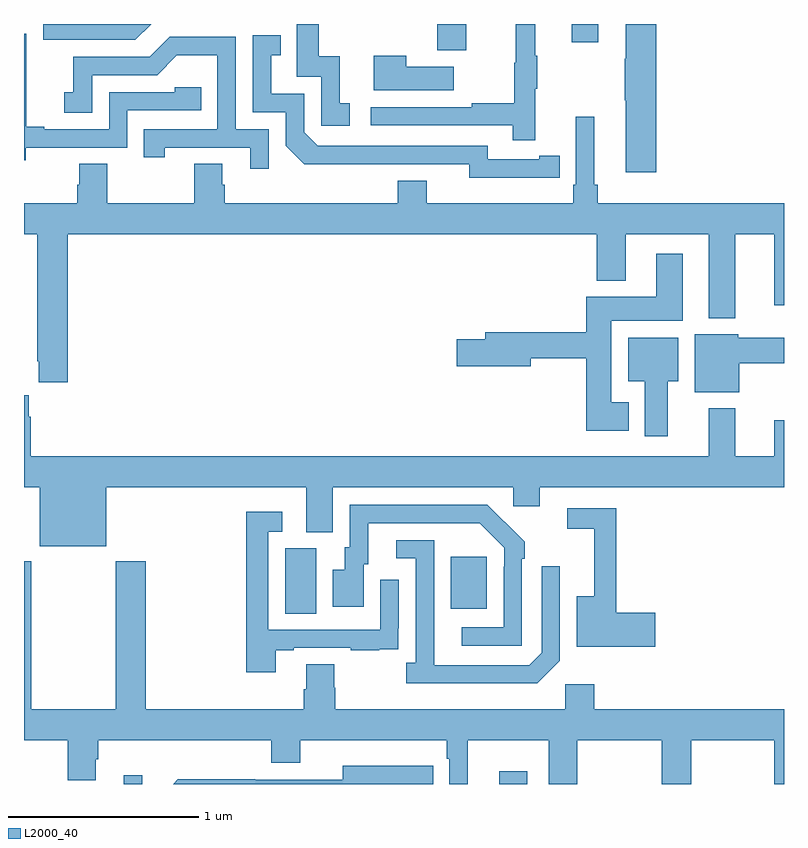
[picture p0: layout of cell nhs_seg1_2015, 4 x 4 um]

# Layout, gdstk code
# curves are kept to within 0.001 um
import gdstk
lib = gdstk.Library(unit=1e-6, precision=1e-09)
def R(c, l, rs):  # rectangles x0, y0, x1, y1
    for r in rs: c.add(gdstk.rectangle(r[:2], r[2:], *l))
def P(c, l, *ps):  # polygons
    for p in ps: c.add(gdstk.Polygon(p, *l))
L2000_40 = (2000, 40)

nhs_seg1_2015 = lib.new_cell('nhs_seg1_2015')
R(nhs_seg1_2015, L2000_40, [(221.525,522.199,221.622,522.246), (223.502,522.199,223.648,522.265), (222.374,523.096,222.538,523.44), (223.247,523.121,223.435,523.395), (223.175,526.062,223.327,526.199), (223.883,526.104,224.023,526.199)])
P(nhs_seg1_2015, L2000_40, [(222.715,525.783),(222.662,525.783),(222.662,526.03),(222.551,526.03),(222.551,526.199),(222.435,526.199),(222.435,525.921),(222.564,525.921),(222.564,525.663),(222.715,525.663)],
  [(223.691,525.859),(223.702,525.859),(223.702,526.033),(223.691,526.033),(223.691,526.199),(223.588,526.199),(223.588,525.996),(223.581,525.996),(223.581,525.782),(223.357,525.782),(223.357,525.762),(222.825,525.762),(222.825,525.666),(223.573,525.666),(223.573,525.588),(223.691,525.588)],
  [(221.669,526.199),(221.1,526.199),(221.1,526.116),(221.586,526.116)],
  [(224.327,526.199),(224.168,526.199),(224.168,526.016),(224.161,526.016),(224.161,525.799),(224.168,525.799),(224.168,525.42),(224.327,525.42)],
  [(221.01,525.549),(221.544,525.549),(221.544,525.744),(221.933,525.744),(221.933,525.867),(221.793,525.867),(221.793,525.84),(221.448,525.84),(221.448,525.645),(221.107,525.645),(221.107,525.658),(221.012,525.658),(221.012,525.941),(221.013,525.941),(221.013,526.147),(221,526.147),(221,525.481),(221.01,525.481)],
  [(223.712,525.39),(223.82,525.39),(223.82,525.506),(223.712,525.506),(223.712,525.486),(223.44,525.486),(223.44,525.558),(222.546,525.558),(222.474,525.63),(222.474,525.831),(222.301,525.831),(222.301,526.035),(222.35,526.035),(222.35,526.141),(222.204,526.141),(222.204,525.735),(222.378,525.735),(222.378,525.558),(222.476,525.461),(223.344,525.462),(223.344,525.389)],
  [(222.288,525.645),(222.114,525.645),(222.114,526.131),(221.768,526.131),(221.663,526.026),(221.26,526.026),(221.26,525.841),(221.211,525.841),(221.211,525.732),(221.358,525.732),(221.358,525.93),(221.7,525.93),(221.804,526.034),(222.018,526.034),(222.018,525.645),(221.629,525.645),(221.629,525.498),(221.74,525.498),(221.74,525.549),(222.191,525.549),(222.191,525.438),(222.288,525.438)],
  [(223.261,525.973),(223.013,525.973),(223.013,526.033),(222.842,526.033),(222.842,525.851),(223.261,525.851)],
  [(221.231,525.092),(224.015,525.092),(224.015,524.849),(224.167,524.849),(224.167,525.092),(224.603,525.092),(224.603,524.651),(224.743,524.651),(224.743,525.092),(224.948,525.092),(224.948,524.718),(225,524.718),(225,525.256),(224.021,525.256),(224.021,525.352),(224.002,525.352),(224.002,525.712),(223.905,525.712),(223.905,525.352),(223.892,525.352),(223.892,525.256),(223.12,525.256),(223.12,525.373),(222.968,525.373),(222.968,525.256),(222.056,525.256),(222.056,525.354),(222.043,525.354),(222.043,525.464),(221.896,525.464),(221.896,525.256),(221.439,525.256),(221.439,525.464),(221.291,525.464),(221.291,525.354),(221.279,525.354),(221.279,525.256),(221,525.256),(221,525.092),(221.071,525.092),(221.071,524.425),(221.077,524.425),(221.077,524.313),(221.231,524.313)],
  [(224.182,524.209),(224.092,524.209),(224.092,524.636),(224.467,524.636),(224.467,524.989),(224.327,524.989),(224.327,524.764),(223.958,524.764),(223.958,524.576),(223.427,524.576),(223.427,524.54),(223.278,524.54),(223.278,524.398),(223.666,524.398),(223.666,524.44),(223.958,524.44),(223.958,524.057),(224.182,524.057)],
  [(224.764,524.414),(225,524.414),(225,524.548),(224.76,524.548),(224.76,524.566),(224.531,524.566),(224.531,524.261),(224.764,524.261)],
  [(224.389,524.318),(224.443,524.318),(224.443,524.548),(224.18,524.548),(224.18,524.318),(224.267,524.318),(224.267,524.028),(224.389,524.028)],
  [(221.434,523.76),(222.485,523.76),(222.485,523.525),(222.625,523.525),(222.625,523.76),(223.575,523.76),(223.575,523.662),(223.714,523.662),(223.714,523.76),(225,523.76),(225,524.113),(224.948,524.113),(224.948,523.924),(224.743,523.924),(224.743,524.176),(224.603,524.176),(224.603,523.924),(221.036,523.924),(221.036,524.132),(221.026,524.132),(221.026,524.245),(221,524.245),(221,523.76),(221.084,523.76),(221.084,523.451),(221.434,523.451)],
  [(223.62,523.385),(223.635,523.385),(223.635,523.473),(223.438,523.668),(222.714,523.668),(222.714,523.446),(222.689,523.446),(222.689,523.327),(222.626,523.327),(222.626,523.131),(222.787,523.131),(222.787,523.356),(222.811,523.356),(222.811,523.572),(223.399,523.572),(223.527,523.443),(223.527,523.343),(223.524,523.343),(223.524,523.023),(223.305,523.023),(223.305,522.927),(223.62,522.927)],
  [(224.323,523.1),(224.117,523.1),(224.117,523.65),(223.86,523.65),(223.86,523.542),(224,523.542),(224,523.186),(223.91,523.186),(223.91,522.922),(224.323,522.922)],
  [(222.325,522.903),(222.421,522.903),(222.421,522.915),(222.721,522.915),(222.721,522.903),(222.869,522.903),(222.869,522.909),(222.971,522.909),(222.971,523.018),(222.972,523.018),(222.972,523.273),(222.876,523.273),(222.876,523.011),(222.285,523.011),(222.285,523.527),(222.358,523.527),(222.358,523.633),(222.169,523.633),(222.169,522.786),(222.325,522.786)],
  [(223.821,522.849),(223.821,523.345),(223.725,523.345),(223.725,522.891),(223.659,522.825),(223.159,522.825),(223.158,523.482),(222.96,523.482),(222.96,523.386),(223.062,523.386),(223.062,522.838),(223.011,522.838),(223.011,522.728),(223.7,522.728)],
  [(221.642,523.371),(221.482,523.371),(221.482,522.592),(221.037,522.592),(221.037,523.371),(221,523.371),(221,522.428),(221.23,522.428),(221.23,522.22),(221.377,522.22),(221.377,522.33),(221.39,522.33),(221.39,522.428),(222.302,522.428),(222.302,522.311),(222.454,522.311),(222.454,522.428),(223.226,522.428),(223.226,522.332),(223.239,522.332),(223.239,522.199),(223.336,522.199),(223.336,522.428),(223.763,522.428),(223.763,522.199),(223.911,522.199),(223.911,522.428),(224.356,522.428),(224.356,522.199),(224.511,522.199),(224.511,522.428),(224.948,522.428),(224.948,522.199),(225,522.199),(225,522.592),(224,522.592),(224,522.724),(223.848,522.724),(223.848,522.592),(222.638,522.592),(222.638,522.705),(222.633,522.705),(222.633,522.83),(222.485,522.83),(222.485,522.698),(222.473,522.698),(222.473,522.592),(221.642,522.592)],
  [(223.154,522.294),(223.046,522.294),(223.046,522.295),(222.678,522.295),(222.678,522.222),(222.218,522.222),(222.218,522.224),(221.81,522.224),(221.785,522.199),(223.154,522.199)])

lib.write_gds('nhs_seg1_2015.gds')
